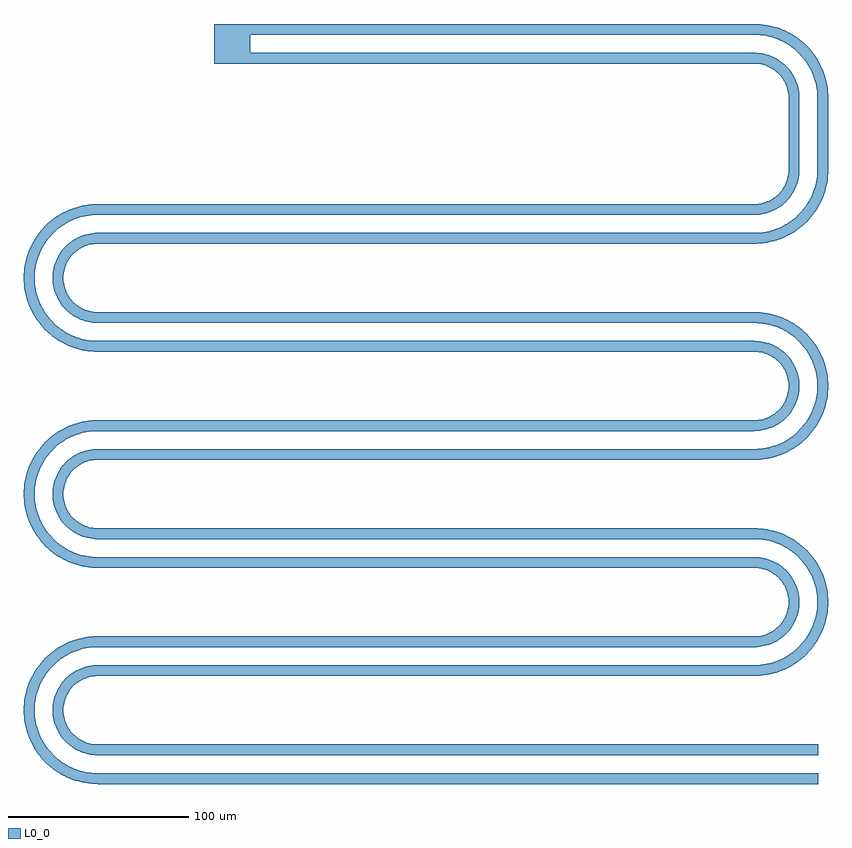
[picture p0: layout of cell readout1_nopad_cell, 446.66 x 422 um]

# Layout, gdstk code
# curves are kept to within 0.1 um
import gdstk
lib = gdstk.Library(unit=1e-6, precision=1e-09)
def R(c, l, rs):  # rectangles x0, y0, x1, y1
    for r in rs: c.add(gdstk.rectangle(r[:2], r[2:], *l))
def P(c, l, *ps):  # polygons
    for p in ps: c.add(gdstk.Polygon(p, *l))
L0_0 = (0, 0)

readout1_nopad_cell = lib.new_cell('readout1_nopad_cell')
R(readout1_nopad_cell, L0_0, [(-35.345,-11,-24.498,-5), (-24.498,-11,-16.508,-5), (-16.508,-11,-6.835,-5), (-6.835,-11,0,-5), (-35.345,5,-24.498,11), (-24.498,5,-16.508,11), (-16.508,5,-6.835,11), (-6.835,5,0,11)])
P(readout1_nopad_cell, L0_0, [(5.616,91.788),(5.032,97.12),(4.258,100.612),(3.182,104.023),(1.814,107.327),(0.162,110.5),(-1.76,113.517),(-3.937,116.354),(-6.835,119.452),(-6.835,110.302),(-4.236,106.038),(-2.27,101.447),(-1.332,98.252),(-0.701,94.981),(-0.345,90),(-0.701,85.019),(-1.332,81.748),(-2.27,78.553),(-4.236,73.962),(-6.835,69.698),(-6.835,60.548),(-3.937,63.646),(-1.76,66.483),(0.162,69.5),(2.534,74.31),(4.258,79.388),(5.032,82.88),(5.499,86.427)],
  [(5.616,211.788),(5.032,217.12),(4.258,220.612),(3.182,224.023),(1.814,227.327),(0.162,230.5),(-1.76,233.517),(-3.937,236.354),(-6.835,239.452),(-6.835,230.302),(-4.236,226.038),(-2.27,221.447),(-1.332,218.252),(-0.701,214.981),(-0.345,210),(-0.701,205.019),(-1.332,201.748),(-2.27,198.553),(-4.236,193.962),(-6.835,189.698),(-6.835,180.548),(-3.937,183.646),(-1.76,186.483),(0.162,189.5),(2.534,194.31),(4.258,199.388),(5.032,202.88),(5.499,206.427)],
  [(5.616,371.788),(5.032,377.12),(4.258,380.612),(3.182,384.023),(1.814,387.327),(0.162,390.5),(-1.76,393.517),(-3.937,396.354),(-6.835,399.452),(-6.835,390.302),(-4.236,386.038),(-2.27,381.447),(-1.332,378.252),(-0.701,374.981),(-0.345,370),(-0.345,330),(-0.504,326.673),(-1.332,321.748),(-2.852,316.992),(-5.034,312.5),(-6.835,309.698),(-6.835,300.548),(-5.117,302.301),(-2.818,305.041),(-0.766,307.971),(1.022,311.068),(3.182,315.977),(4.258,319.388),(5.032,322.88),(5.499,326.427),(5.655,330)],
  [(-7.833,68.364),(-10.014,65.847),(-12.425,63.549),(-16.508,60.504),(-16.508,53.586),(-11.828,56.415),(-8.991,58.592),(-6.835,60.548),(-6.835,69.698)],
  [(-10.384,91.402),(-10.972,95.563),(-12.248,99.567),(-14.177,103.301),(-16.508,106.427),(-16.508,92.48),(-16.345,90),(-16.508,87.52),(-16.508,73.573),(-14.956,75.533),(-13.465,77.907),(-11.748,81.743),(-10.698,85.812),(-10.384,88.598)],
  [(-7.646,120.228),(-11.828,123.585),(-16.508,126.414),(-16.508,119.496),(-13.71,117.512),(-11.192,115.331),(-8.894,112.92),(-6.835,110.302),(-6.835,119.452)],
  [(-7.833,188.364),(-10.014,185.847),(-12.425,183.549),(-16.508,180.504),(-16.508,173.586),(-11.828,176.415),(-8.991,178.592),(-6.835,180.548),(-6.835,189.698)],
  [(-10.384,211.402),(-10.972,215.563),(-12.248,219.567),(-14.177,223.301),(-16.508,226.427),(-16.508,212.48),(-16.345,210),(-16.508,207.52),(-16.508,193.573),(-14.956,195.533),(-13.465,197.907),(-11.748,201.743),(-10.698,205.812),(-10.384,208.598)],
  [(-7.646,240.228),(-11.828,243.585),(-16.508,246.414),(-16.508,239.496),(-13.71,237.512),(-11.192,235.331),(-8.894,232.92),(-6.835,230.302),(-6.835,239.452)],
  [(-7.833,308.364),(-10.014,305.847),(-12.425,303.549),(-16.508,300.504),(-16.508,293.586),(-11.828,296.415),(-8.991,298.592),(-6.835,300.548),(-6.835,309.698)],
  [(-10.384,371.402),(-10.972,375.563),(-12.248,379.567),(-14.177,383.301),(-16.508,386.427),(-16.508,372.48),(-16.345,370),(-16.345,330),(-16.508,327.52),(-16.508,313.573),(-14.177,316.699),(-12.248,320.433),(-11.322,323.079),(-10.502,327.201),(-10.345,330)],
  [(-7.646,400.228),(-11.828,403.585),(-16.508,406.414),(-16.508,399.496),(-13.71,397.512),(-11.192,395.331),(-8.894,392.92),(-6.835,390.302),(-6.835,399.452)],
  [(-16.993,60.208),(-20.806,58.163),(-24.498,56.733),(-24.498,50.466),(-19.655,52.121),(-16.508,53.586),(-16.508,60.504)],
  [(-16.71,86.293),(-17.791,82.729),(-19.547,79.444),(-21.91,76.565),(-24.498,74.411),(-24.498,67.476),(-22.044,68.832),(-19.758,70.454),(-17.667,72.322),(-16.508,73.573),(-16.508,87.52)],
  [(-16.704,106.659),(-18.686,108.641),(-20.878,110.389),(-24.498,112.524),(-24.498,105.589),(-22.818,104.285),(-21.06,102.528),(-18.891,99.5),(-17.353,96.107),(-16.508,92.48),(-16.508,106.427)],
  [(-16.993,126.653),(-21.322,128.527),(-24.498,129.534),(-24.498,123.267),(-20.806,121.837),(-16.508,119.496),(-16.508,126.414)],
  [(-16.993,180.208),(-20.806,178.163),(-24.498,176.733),(-24.498,170.466),(-19.655,172.121),(-16.508,173.586),(-16.508,180.504)],
  [(-16.71,206.293),(-17.791,202.729),(-19.547,199.444),(-21.91,196.565),(-24.498,194.411),(-24.498,187.476),(-22.044,188.832),(-19.758,190.454),(-17.667,192.322),(-16.508,193.573),(-16.508,207.52)],
  [(-16.704,226.659),(-18.686,228.641),(-20.878,230.389),(-24.498,232.524),(-24.498,225.589),(-22.818,224.285),(-21.06,222.528),(-18.891,219.5),(-17.353,216.107),(-16.508,212.48),(-16.508,226.427)],
  [(-16.993,246.653),(-21.322,248.527),(-24.498,249.534),(-24.498,243.267),(-20.806,241.837),(-16.508,239.496),(-16.508,246.414)],
  [(-16.993,300.208),(-20.806,298.163),(-24.498,296.733),(-24.498,290.466),(-19.655,292.121),(-16.508,293.586),(-16.508,300.504)],
  [(-16.71,326.293),(-17.791,322.729),(-19.547,319.444),(-21.91,316.565),(-24.498,314.411),(-24.498,307.476),(-22.044,308.832),(-19.758,310.454),(-17.667,312.322),(-16.508,313.573),(-16.508,327.52)],
  [(-16.704,386.659),(-18.686,388.641),(-20.878,390.389),(-24.498,392.524),(-24.498,385.589),(-22.818,384.285),(-21.06,382.528),(-18.891,379.5),(-17.353,376.107),(-16.508,372.48),(-16.508,386.427)],
  [(-16.993,406.653),(-21.322,408.527),(-24.498,409.534),(-24.498,403.267),(-20.806,401.837),(-16.508,399.496),(-16.508,406.414)],
  [(-25.484,56.418),(-30.364,55.356),(-35.345,55),(-35.345,49),(-29.994,49.351),(-24.498,50.466),(-24.498,56.733)],
  [(-24.789,74.202),(-28.074,72.446),(-30.428,71.647),(-32.865,71.163),(-35.345,71),(-35.345,65),(-32.546,65.157),(-29.782,65.627),(-27.088,66.403),(-24.498,67.476),(-24.498,74.411)],
  [(-25.778,113.097),(-28.424,114.023),(-31.157,114.647),(-35.345,115),(-35.345,109),(-31.638,108.635),(-29.238,107.992),(-26.942,107.041),(-24.498,105.589),(-24.498,112.524)],
  [(-24.734,129.603),(-29.994,130.649),(-35.345,131),(-35.345,125),(-30.364,124.644),(-27.094,124.013),(-24.498,123.267),(-24.498,129.534)],
  [(-25.484,176.418),(-30.364,175.356),(-35.345,175),(-35.345,169),(-29.994,169.351),(-24.498,170.466),(-24.498,176.733)],
  [(-24.789,194.202),(-28.074,192.446),(-30.428,191.647),(-32.865,191.163),(-35.345,191),(-35.345,185),(-32.546,185.157),(-29.782,185.627),(-27.088,186.403),(-24.498,187.476),(-24.498,194.411)],
  [(-25.778,233.097),(-28.424,234.023),(-31.157,234.647),(-35.345,235),(-35.345,229),(-31.638,228.635),(-29.238,227.992),(-26.942,227.041),(-24.498,225.589),(-24.498,232.524)],
  [(-24.734,249.603),(-29.994,250.649),(-35.345,251),(-35.345,245),(-30.364,244.644),(-27.094,244.013),(-24.498,243.267),(-24.498,249.534)],
  [(-25.484,296.418),(-30.364,295.356),(-35.345,295),(-35.345,289),(-29.994,289.351),(-24.498,290.466),(-24.498,296.733)],
  [(-24.789,314.202),(-28.074,312.446),(-30.428,311.647),(-32.865,311.163),(-35.345,311),(-35.345,305),(-32.546,305.157),(-29.782,305.627),(-27.088,306.403),(-24.498,307.476),(-24.498,314.411)],
  [(-25.778,393.097),(-28.424,394.023),(-31.157,394.647),(-35.345,395),(-35.345,389),(-31.638,388.635),(-29.238,387.992),(-26.942,387.041),(-24.498,385.589),(-24.498,392.524)],
  [(-24.734,409.603),(-29.994,410.649),(-35.345,411),(-35.345,405),(-30.364,404.644),(-27.094,404.013),(-24.498,403.267),(-24.498,409.534)],
  [(-400,-5),(-404.981,-4.644),(-408.252,-4.013),(-410.612,-3.342),(-410.612,-9.603),(-405.352,-10.649),(-400,-11),(-35.345,-11),(-35.345,-5)],
  [(-400,11),(-403.707,11.365),(-406.107,12.008),(-408.403,12.959),(-410.612,14.242),(-410.612,7.371),(-408.257,6.403),(-405.563,5.627),(-402.799,5.157),(-400,5),(-35.345,5),(-35.345,11)],
  [(-400,55),(-402.799,54.843),(-405.563,54.373),(-408.257,53.597),(-410.612,52.629),(-410.612,45.758),(-408.403,47.041),(-406.107,47.992),(-403.707,48.635),(-400,49),(-35.345,49),(-35.345,55)],
  [(-400,71),(-405.352,70.649),(-410.612,69.603),(-410.612,63.342),(-408.252,64.013),(-404.981,64.644),(-400,65),(-35.345,65),(-35.345,71)],
  [(-400,115),(-404.981,115.356),(-408.252,115.987),(-410.612,116.658),(-410.612,110.397),(-405.352,109.351),(-400,109),(-35.345,109),(-35.345,115)],
  [(-400,131),(-403.707,131.365),(-406.107,132.008),(-408.403,132.959),(-410.612,134.242),(-410.612,127.371),(-408.257,126.403),(-405.563,125.627),(-402.799,125.157),(-400,125),(-35.345,125),(-35.345,131)],
  [(-400,175),(-402.799,174.843),(-405.563,174.373),(-408.257,173.597),(-410.612,172.629),(-410.612,165.758),(-408.403,167.041),(-406.107,167.992),(-403.707,168.635),(-400,169),(-35.345,169),(-35.345,175)],
  [(-400,191),(-405.352,190.649),(-410.612,189.603),(-410.612,183.342),(-408.252,184.013),(-404.981,184.644),(-400,185),(-35.345,185),(-35.345,191)],
  [(-400,235),(-404.981,235.356),(-408.252,235.987),(-410.612,236.658),(-410.612,230.397),(-405.352,229.351),(-400,229),(-35.345,229),(-35.345,235)],
  [(-400,251),(-403.707,251.365),(-406.107,252.008),(-408.403,252.959),(-410.612,254.242),(-410.612,247.371),(-408.257,246.403),(-405.563,245.627),(-402.799,245.157),(-400,245),(-35.345,245),(-35.345,251)],
  [(-400,295),(-402.799,294.843),(-405.563,294.373),(-408.257,293.597),(-410.612,292.629),(-410.612,285.758),(-408.403,287.041),(-406.107,287.992),(-403.707,288.635),(-400,289),(-35.345,289),(-35.345,295)],
  [(-400,311),(-405.352,310.649),(-410.612,309.603),(-410.612,303.342),(-408.252,304.013),(-404.981,304.644),(-400,305),(-35.345,305),(-35.345,311)],
  [(-335.345,411),(-335.345,389),(-35.345,389),(-35.345,395),(-315.345,395),(-315.345,405),(-35.345,405),(-35.345,411)],
  [(-411.447,-3.075),(-414.54,-1.837),(-418.641,0.385),(-418.641,-6.511),(-417.327,-7.159),(-414.023,-8.527),(-410.612,-9.603),(-410.612,-3.342)],
  [(-411.566,14.926),(-414.285,17.472),(-416.454,20.5),(-417.992,23.893),(-418.641,26.329),(-418.641,13.341),(-416.659,11.359),(-414.467,9.611),(-410.612,7.371),(-410.612,14.242)],
  [(-410.847,52.524),(-414.467,50.389),(-416.659,48.641),(-418.641,46.659),(-418.641,33.671),(-417.554,37.271),(-415.798,40.556),(-413.435,43.435),(-410.612,45.758),(-410.612,52.629)],
  [(-412.329,69.102),(-415.69,67.879),(-418.641,66.511),(-418.641,59.615),(-414.54,61.837),(-410.612,63.342),(-410.612,69.603)],
  [(-411.447,116.925),(-414.54,118.163),(-418.641,120.385),(-418.641,113.489),(-417.327,112.841),(-414.023,111.473),(-410.612,110.397),(-410.612,116.658)],
  [(-411.566,134.926),(-414.285,137.472),(-416.454,140.5),(-417.992,143.893),(-418.641,146.329),(-418.641,133.341),(-416.659,131.359),(-414.467,129.611),(-410.612,127.371),(-410.612,134.242)],
  [(-410.847,172.524),(-414.467,170.389),(-416.659,168.641),(-418.641,166.659),(-418.641,153.671),(-417.554,157.271),(-415.798,160.556),(-413.435,163.435),(-410.612,165.758),(-410.612,172.629)],
  [(-412.329,189.102),(-415.69,187.879),(-418.641,186.511),(-418.641,179.615),(-414.54,181.837),(-410.612,183.342),(-410.612,189.603)],
  [(-411.447,236.925),(-414.54,238.163),(-418.641,240.385),(-418.641,233.489),(-417.327,232.841),(-414.023,231.473),(-410.612,230.397),(-410.612,236.658)],
  [(-411.566,254.926),(-414.285,257.472),(-416.454,260.5),(-417.992,263.893),(-418.641,266.329),(-418.641,253.341),(-416.659,251.359),(-414.467,249.611),(-410.612,247.371),(-410.612,254.242)],
  [(-410.847,292.524),(-414.467,290.389),(-416.659,288.641),(-418.641,286.659),(-418.641,273.671),(-417.554,277.271),(-415.798,280.556),(-413.435,283.435),(-410.612,285.758),(-410.612,292.629)],
  [(-412.329,309.102),(-415.69,307.879),(-418.641,306.511),(-418.641,299.615),(-414.54,301.837),(-410.612,303.342),(-410.612,309.603)],
  [(-418.922,0.556),(-421.636,2.488),(-424.153,4.669),(-426.451,7.08),(-428.51,9.698),(-428.51,0.548),(-427.699,-0.228),(-423.517,-3.585),(-418.641,-6.511),(-418.641,0.385)],
  [(-418.932,66.367),(-423.517,63.585),(-426.354,61.408),(-428.51,59.452),(-428.51,50.302),(-426.451,52.92),(-424.153,55.331),(-421.636,57.512),(-418.641,59.615),(-418.641,66.511)],
  [(-418.922,120.556),(-421.636,122.488),(-424.153,124.669),(-426.451,127.08),(-428.51,129.698),(-428.51,120.548),(-427.699,119.772),(-423.517,116.415),(-418.641,113.489),(-418.641,120.385)],
  [(-418.932,186.367),(-423.517,183.585),(-426.354,181.408),(-428.51,179.452),(-428.51,170.302),(-426.451,172.92),(-424.153,175.331),(-421.636,177.512),(-418.641,179.615),(-418.641,186.511)],
  [(-418.922,240.556),(-421.636,242.488),(-424.153,244.669),(-426.451,247.08),(-428.51,249.698),(-428.51,240.548),(-427.699,239.772),(-423.517,236.415),(-418.641,233.489),(-418.641,240.385)],
  [(-418.932,306.367),(-423.517,303.585),(-426.354,301.408),(-428.51,299.452),(-428.51,290.302),(-426.451,292.92),(-424.153,295.331),(-421.636,297.512),(-418.641,299.615),(-418.641,306.511)],
  [(-419.546,285.587),(-421.881,282.093),(-423.097,279.567),(-424.023,276.921),(-424.843,272.799),(-424.961,268.598),(-424.373,264.437),(-423.097,260.433),(-421.168,256.699),(-418.641,253.341),(-418.641,266.329),(-419,270),(-418.641,273.671),(-418.641,286.659)],
  [(-419.546,165.587),(-421.881,162.093),(-423.097,159.567),(-424.023,156.921),(-424.843,152.799),(-424.961,148.598),(-424.373,144.437),(-423.097,140.433),(-421.168,136.699),(-418.641,133.341),(-418.641,146.329),(-419,150),(-418.641,153.671),(-418.641,166.659)],
  [(-419.546,45.587),(-421.881,42.093),(-423.097,39.567),(-424.023,36.921),(-424.843,32.799),(-424.961,28.598),(-424.373,24.437),(-423.097,20.433),(-421.168,16.699),(-418.641,13.341),(-418.641,26.329),(-419,30),(-418.641,33.671),(-418.641,46.659)],
  [(-428.991,58.991),(-431.408,56.354),(-433.585,53.517),(-435.507,50.5),(-437.879,45.69),(-439.603,40.612),(-440.377,37.12),(-440.844,33.573),(-441,30),(-440.844,26.427),(-440.377,22.88),(-439.603,19.388),(-437.879,14.31),(-435.507,9.5),(-433.585,6.483),(-431.408,3.646),(-428.51,0.548),(-428.51,9.698),(-431.109,13.962),(-433.075,18.553),(-434.368,23.376),(-434.842,26.673),(-435,30),(-434.842,33.327),(-434.368,36.624),(-433.075,41.447),(-431.109,46.038),(-428.51,50.302),(-428.51,59.452)],
  [(-428.991,178.991),(-431.408,176.354),(-433.585,173.517),(-435.507,170.5),(-437.879,165.69),(-439.603,160.612),(-440.377,157.12),(-440.844,153.573),(-441,150),(-440.844,146.427),(-440.377,142.88),(-439.603,139.388),(-437.879,134.31),(-435.507,129.5),(-433.585,126.483),(-431.408,123.646),(-428.51,120.548),(-428.51,129.698),(-431.109,133.962),(-433.075,138.553),(-434.368,143.376),(-434.842,146.673),(-435,150),(-434.842,153.327),(-434.368,156.624),(-433.075,161.447),(-431.109,166.038),(-428.51,170.302),(-428.51,179.452)],
  [(-428.991,298.991),(-431.408,296.354),(-433.585,293.517),(-435.507,290.5),(-437.879,285.69),(-439.603,280.612),(-440.377,277.12),(-440.844,273.573),(-441,270),(-440.844,266.427),(-440.377,262.88),(-439.603,259.388),(-437.879,254.31),(-435.507,249.5),(-433.585,246.483),(-431.408,243.646),(-428.51,240.548),(-428.51,249.698),(-431.109,253.962),(-433.075,258.553),(-434.368,263.376),(-434.842,266.673),(-435,270),(-434.842,273.327),(-434.368,276.624),(-433.075,281.447),(-431.109,286.038),(-428.51,290.302),(-428.51,299.452)])

lib.write_gds('readout1_nopad_cell.gds')
